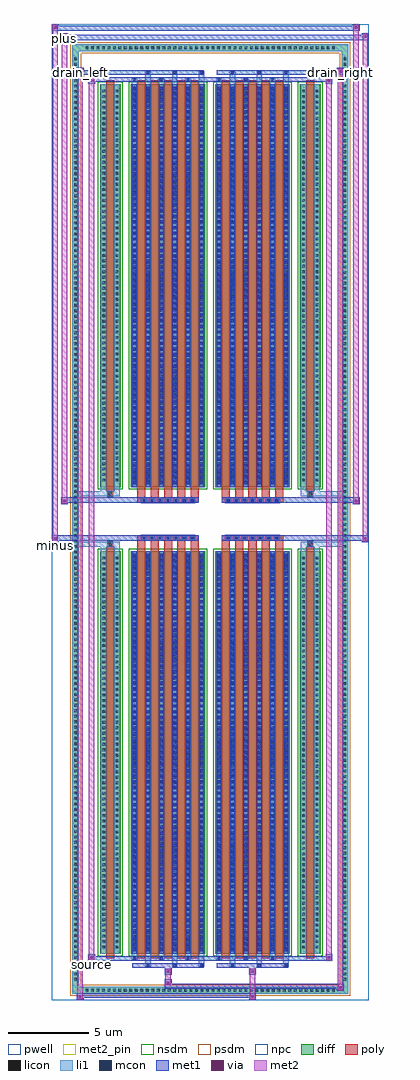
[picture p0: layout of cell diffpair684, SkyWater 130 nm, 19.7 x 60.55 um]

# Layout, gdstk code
import gdstk
lib = gdstk.Library(unit=1e-6, precision=5e-09)
def R(c, l, rs):  # rectangles x0, y0, x1, y1
    for r in rs: c.add(gdstk.rectangle(r[:2], r[2:], *l))
def A(c, l, x, y, w, h, nx, ny, dx, dy):  # array of equal rectangles
    R(c, l, [(x+i*dx, y+j*dy, x+i*dx+w, y+j*dy+h) for i in range(nx) for j in range(ny)])
def P(c, l, *ps):  # polygons
    for p in ps: c.add(gdstk.Polygon(p, *l))
pwell = (64, 44)
diff = (65, 20)
poly = (66, 20)
licon = (66, 44)
li1 = (67, 20)
mcon = (67, 44)
met1 = (68, 20)
via = (68, 44)
met2_pin = (69, 16)
met2 = (69, 20)
nsdm = (93, 44)
psdm = (94, 20)
npc = (95, 20)

diffpair684 = lib.new_cell('diffpair684')
R(diffpair684, pwell, [(-9.83,-29.84,9.83,30.71), (-7.15,-28.03,-0.01,-0.805), (0.01,-28.03,7.15,-0.805), (-7.15,0.805,-0.01,28.03), (0.01,0.805,7.15,28.03)])
A(diffpair684, diff, -7.855, -29.44, 0.41, 0.41, 46, 2, 0.34, 58.47)
A(diffpair684, diff, -8.56, -28.765, 0.41, 0.41, 1, 169, 0, 0.34)
A(diffpair684, diff, 8.15, -28.765, 0.41, 0.41, 1, 169, 0, 0.34)
R(diffpair684, diff, [(-7.855,-29.44,7.855,-29.03), (-8.56,-28.765,-8.15,28.765), (8.15,-28.765,8.56,28.765), (-6.84,-26.985,-5.56,-1.985), (-4.92,-26.985,-0.32,-1.985), (0.32,-26.985,4.92,-1.985), (5.56,-26.985,6.84,-1.985), (-6.84,1.985,-5.56,26.985), (-4.92,1.985,-0.32,26.985), (0.32,1.985,4.92,26.985), (5.56,1.985,6.84,26.985), (-7.855,29.03,7.855,29.44)])
P(diffpair684, diff, [(8.56,29.44),(-8.56,29.44),(-8.56,-29.03),(-8.15,-29.03),(-8.15,29.03),(8.15,29.03),(8.15,-29.03),(-8.15,-29.03),(-8.56,-29.03),(-8.56,-29.44),(8.56,-29.44)])
A(diffpair684, poly, -4.53, -27.235, 0.5, 25.5, 5, 2, 0.83, 28.97)
A(diffpair684, poly, 0.71, -27.235, 0.5, 25.5, 5, 2, 0.83, 28.97)
A(diffpair684, poly, -4.53, -1.735, 0.5, 0.4, 5, 2, 0.83, 3.07)
A(diffpair684, poly, 0.71, -1.735, 0.5, 0.4, 5, 2, 0.83, 3.07)
A(diffpair684, poly, -4.285, -1.335, 0.33, 0.33, 7, 2, 0.5, 2.34)
A(diffpair684, poly, 0.955, -1.335, 0.33, 0.33, 7, 2, 0.5, 2.34)
R(diffpair684, poly, [(-6.45,-27.235,-5.95,-1.735), (5.95,-27.235,6.45,-1.735), (-6.365,-1.735,-6.035,-1.405), (-6.365,-1.735,-6.035,-1.405), (6.035,-1.735,6.365,-1.405), (6.035,-1.735,6.365,-1.405), (-4.53,-1.335,-0.71,-1.005), (0.71,-1.335,4.53,-1.005), (-4.53,1.005,-0.71,1.335), (0.71,1.005,4.53,1.335), (-6.365,1.405,-6.035,1.735), (-6.365,1.405,-6.035,1.735), (6.035,1.405,6.365,1.735), (6.035,1.405,6.365,1.735), (-6.45,1.735,-5.95,27.235), (5.95,1.735,6.45,27.235)])
A(diffpair684, licon, -7.735, -29.32, 0.17, 0.17, 46, 2, 0.34, 58.47)
A(diffpair684, licon, -8.44, -28.645, 0.17, 0.17, 1, 169, 0, 0.34)
A(diffpair684, licon, 8.27, -28.645, 0.17, 0.17, 1, 169, 0, 0.34)
A(diffpair684, licon, -6.7, -26.64, 0.17, 0.17, 1, 72, 0, 0.34)
A(diffpair684, licon, -5.87, -26.64, 0.17, 0.17, 1, 72, 0, 0.34)
A(diffpair684, licon, -4.78, -26.64, 0.17, 0.17, 6, 72, 0.83, 0.34)
A(diffpair684, licon, 0.46, -26.64, 0.17, 0.17, 6, 72, 0.83, 0.34)
A(diffpair684, licon, 5.7, -26.64, 0.17, 0.17, 1, 72, 0, 0.34)
A(diffpair684, licon, 6.53, -26.64, 0.17, 0.17, 1, 72, 0, 0.34)
A(diffpair684, licon, -4.205, -1.255, 0.17, 0.17, 7, 2, 0.5, 2.34)
A(diffpair684, licon, 1.035, -1.255, 0.17, 0.17, 7, 2, 0.5, 2.34)
A(diffpair684, licon, -6.7, 2.33, 0.17, 0.17, 1, 72, 0, 0.34)
A(diffpair684, licon, -5.87, 2.33, 0.17, 0.17, 1, 72, 0, 0.34)
A(diffpair684, licon, -4.78, 2.33, 0.17, 0.17, 6, 72, 0.83, 0.34)
A(diffpair684, licon, 0.46, 2.33, 0.17, 0.17, 6, 72, 0.83, 0.34)
A(diffpair684, licon, 5.7, 2.33, 0.17, 0.17, 1, 72, 0, 0.34)
A(diffpair684, licon, 6.53, 2.33, 0.17, 0.17, 1, 72, 0, 0.34)
R(diffpair684, licon, [(-6.285,-1.655,-6.115,-1.485), (6.115,-1.655,6.285,-1.485), (-6.285,1.485,-6.115,1.655), (6.115,1.485,6.285,1.655)])
A(diffpair684, li1, -7.815, -29.4, 0.33, 0.33, 46, 2, 0.34, 58.47)
A(diffpair684, li1, -8.52, -28.725, 0.33, 0.33, 1, 169, 0, 0.34)
A(diffpair684, li1, 8.19, -28.725, 0.33, 0.33, 1, 169, 0, 0.34)
A(diffpair684, li1, -4.03, -27.79, 0.33, 0.805, 3, 2, 1.66, 54.775)
A(diffpair684, li1, -3.95, -27.79, 0.17, 0.17, 3, 2, 1.66, 55.41)
A(diffpair684, li1, 1.21, -27.79, 0.33, 0.805, 3, 2, 1.66, 54.775)
A(diffpair684, li1, 1.29, -27.79, 0.17, 0.17, 3, 2, 1.66, 55.41)
A(diffpair684, li1, -4.86, -27.36, 0.33, 0.375, 3, 2, 1.66, 54.345)
A(diffpair684, li1, -4.78, -27.36, 0.17, 0.17, 3, 2, 1.66, 54.55)
A(diffpair684, li1, 0.38, -27.36, 0.33, 0.375, 3, 2, 1.66, 54.345)
A(diffpair684, li1, 0.46, -27.36, 0.17, 0.17, 3, 2, 1.66, 54.55)
A(diffpair684, li1, -4.86, -26.985, 0.33, 25, 6, 2, 0.83, 28.97)
A(diffpair684, li1, 0.38, -26.985, 0.33, 25, 6, 2, 0.83, 28.97)
A(diffpair684, li1, -4.78, -26.81, 0.17, 0.17, 6, 69, 0.83, 0.36)
A(diffpair684, li1, -4.78, -26.81, 0.17, 24.65, 6, 2, 0.83, 28.97)
A(diffpair684, li1, 0.46, -26.81, 0.17, 0.17, 6, 69, 0.83, 0.36)
A(diffpair684, li1, 0.46, -26.81, 0.17, 24.65, 6, 2, 0.83, 28.97)
A(diffpair684, li1, -6.78, -26.72, 0.33, 0.33, 1, 72, 0, 0.34)
A(diffpair684, li1, -5.95, -26.72, 0.33, 0.33, 1, 72, 0, 0.34)
A(diffpair684, li1, -4.86, -26.72, 0.33, 0.33, 6, 72, 0.83, 0.34)
A(diffpair684, li1, 0.38, -26.72, 0.33, 0.33, 6, 72, 0.83, 0.34)
A(diffpair684, li1, 5.62, -26.72, 0.33, 0.33, 1, 72, 0, 0.34)
A(diffpair684, li1, 6.45, -26.72, 0.33, 0.33, 1, 72, 0, 0.34)
A(diffpair684, li1, -4.285, -1.335, 0.33, 0.33, 7, 2, 0.5, 2.34)
A(diffpair684, li1, 0.955, -1.335, 0.33, 0.33, 7, 2, 0.5, 2.34)
A(diffpair684, li1, -4.78, 2.16, 0.17, 0.17, 6, 69, 0.83, 0.36)
A(diffpair684, li1, 0.46, 2.16, 0.17, 0.17, 6, 69, 0.83, 0.36)
A(diffpair684, li1, -6.78, 2.25, 0.33, 0.33, 1, 72, 0, 0.34)
A(diffpair684, li1, -5.95, 2.25, 0.33, 0.33, 1, 72, 0, 0.34)
A(diffpair684, li1, -4.86, 2.25, 0.33, 0.33, 6, 72, 0.83, 0.34)
A(diffpair684, li1, 0.38, 2.25, 0.33, 0.33, 6, 72, 0.83, 0.34)
A(diffpair684, li1, 5.62, 2.25, 0.33, 0.33, 1, 72, 0, 0.34)
A(diffpair684, li1, 6.45, 2.25, 0.33, 0.33, 1, 72, 0, 0.34)
R(diffpair684, li1, [(-8.56,-29.44,-8.15,-29.03), (-8.56,-29.44,-8.15,-29.03), (-8.15,-29.44,8.15,-29.03), (8.15,-29.44,8.56,-29.03), (8.15,-29.44,8.56,-29.03), (-8.56,-29.03,-8.15,29.03), (8.15,-29.03,8.56,29.03), (-6.78,-26.985,-6.45,-1.985), (-5.95,-26.985,-5.62,-1.985), (5.62,-26.985,5.95,-1.985), (6.45,-26.985,6.78,-1.985), (-6.78,-1.985,-6.45,-1.405), (-5.95,-1.985,-5.62,-1.405), (5.62,-1.985,5.95,-1.405), (6.45,-1.985,6.78,-1.405), (-8.56,-1.735,-6.365,-1.405), (-6.78,-1.735,-6.365,-1.405), (-6.365,-1.735,-6.035,-1.405), (-6.035,-1.735,-5.62,-1.405), (5.62,-1.735,6.035,-1.405), (6.035,-1.735,6.365,-1.405), (6.035,-1.735,8.56,-1.405), (6.365,-1.735,6.78,-1.405), (-8.56,1.405,-6.365,1.735), (-6.78,1.405,-6.365,1.735), (-6.78,1.405,-6.45,1.985), (-6.365,1.405,-6.035,1.735), (-6.035,1.405,-5.62,1.735), (-5.95,1.405,-5.62,1.985), (5.62,1.405,6.035,1.735), (5.62,1.405,5.95,1.985), (6.035,1.405,6.365,1.735), (6.035,1.405,8.56,1.735), (6.365,1.405,6.78,1.735), (6.45,1.405,6.78,1.985), (-6.78,1.985,-6.45,26.985), (-5.95,1.985,-5.62,26.985), (5.62,1.985,5.95,26.985), (6.45,1.985,6.78,26.985), (-8.56,29.03,-8.15,29.44), (-8.56,29.03,-8.15,29.44), (-8.15,29.03,8.15,29.44), (8.15,29.03,8.56,29.44), (8.15,29.03,8.56,29.44)])
A(diffpair684, mcon, -3.95, -27.79, 0.17, 0.17, 3, 2, 1.66, 55.41)
A(diffpair684, mcon, 1.29, -27.79, 0.17, 0.17, 3, 2, 1.66, 55.41)
A(diffpair684, mcon, -4.78, -27.36, 0.17, 0.17, 3, 2, 1.66, 54.55)
A(diffpair684, mcon, 0.46, -27.36, 0.17, 0.17, 3, 2, 1.66, 54.55)
A(diffpair684, mcon, -4.78, -26.81, 0.17, 0.17, 6, 69, 0.83, 0.36)
A(diffpair684, mcon, 0.46, -26.81, 0.17, 0.17, 6, 69, 0.83, 0.36)
A(diffpair684, mcon, -4.205, -1.255, 0.17, 0.17, 7, 2, 0.5, 2.34)
A(diffpair684, mcon, 1.035, -1.255, 0.17, 0.17, 7, 2, 0.5, 2.34)
A(diffpair684, mcon, -4.78, 2.16, 0.17, 0.17, 6, 69, 0.83, 0.36)
A(diffpair684, mcon, 0.46, 2.16, 0.17, 0.17, 6, 69, 0.83, 0.36)
A(diffpair684, met1, -4.01, -27.85, 0.29, 0.29, 3, 2, 1.66, 55.41)
A(diffpair684, met1, 1.23, -27.85, 0.29, 0.29, 3, 2, 1.66, 55.41)
A(diffpair684, met1, -4.84, -27.42, 0.29, 0.29, 3, 2, 1.66, 54.55)
A(diffpair684, met1, 0.4, -27.42, 0.29, 0.29, 3, 2, 1.66, 54.55)
A(diffpair684, met1, -4.84, -26.985, 0.29, 25, 6, 2, 0.83, 28.97)
A(diffpair684, met1, 0.4, -26.985, 0.29, 25, 6, 2, 0.83, 28.97)
A(diffpair684, met1, -4.84, -26.87, 0.29, 0.29, 6, 69, 0.83, 0.36)
A(diffpair684, met1, 0.4, -26.87, 0.29, 0.29, 6, 69, 0.83, 0.36)
A(diffpair684, met1, -4.265, -1.315, 0.29, 0.29, 7, 2, 0.5, 2.34)
A(diffpair684, met1, 0.975, -1.315, 0.29, 0.29, 7, 2, 0.5, 2.34)
A(diffpair684, met1, -4.84, 2.1, 0.29, 0.29, 6, 69, 0.83, 0.36)
A(diffpair684, met1, 0.4, 2.1, 0.29, 0.29, 6, 69, 0.83, 0.36)
R(diffpair684, met1, [(-8.29,-29.84,-7.86,-29.41), (2.405,-29.84,2.835,-29.41), (-8.29,-29.7,2.835,-29.41), (7.86,-29.27,8.29,-28.84), (-2.835,-29.13,8.29,-28.84), (-2.835,-28.99,-2.405,-28.56), (-2.835,-28.28,-2.405,-27.85), (2.405,-28.28,2.835,-27.85), (-4.84,-27.85,-0.4,-27.56), (0.4,-27.85,4.84,-27.56), (-7.58,-27.42,-7.15,-26.99), (-7.58,-27.42,-4.84,-27.13), (-4.84,-27.42,-0.4,-27.13), (-0.4,-27.42,0.4,-27.13), (0.4,-27.42,4.84,-27.13), (4.84,-27.42,7.58,-27.13), (7.15,-27.42,7.58,-26.99), (-9.83,-1.435,-9.4,-1.005), (9.4,-1.435,9.83,-1.005), (-9.83,-1.335,-0.71,-1.005), (-4.53,-1.335,-0.71,-1.005), (0.71,-1.335,4.53,-1.005), (0.71,-1.335,9.83,-1.005), (-9.26,0.905,-8.83,1.335), (8.83,0.905,9.26,1.335), (-9.26,1.005,-4.53,1.335), (-4.53,1.005,-0.71,1.335), (0.71,1.005,4.53,1.335), (4.53,1.005,9.26,1.335), (-7.58,26.99,-7.15,27.42), (7.15,26.99,7.58,27.42), (-7.58,27.13,-4.84,27.42), (-4.84,27.13,-0.4,27.42), (-0.4,27.13,0.4,27.42), (0.4,27.13,4.84,27.42), (4.84,27.13,7.58,27.42), (-8.29,27.56,-7.86,27.99), (-8.29,27.56,-4.84,27.85), (-4.84,27.56,-0.4,27.85), (0.4,27.56,4.84,27.85), (4.84,27.56,8.29,27.85), (7.86,27.56,8.29,27.99), (-9.26,29.71,-8.83,30.14), (-9.26,29.71,-7.15,30.04), (-7.15,29.71,7.15,30.04), (7.15,29.71,9.83,30.04), (9.4,29.71,9.83,30.14), (-9.83,30.28,-9.4,30.71), (-9.83,30.28,-7.15,30.61), (-7.15,30.28,7.15,30.61), (7.15,30.28,9.26,30.61), (8.83,30.28,9.26,30.71)])
R(diffpair684, via, [(-8.15,-29.7,-8,-29.55), (2.545,-29.7,2.695,-29.55), (8,-29.13,8.15,-28.98), (-2.695,-28.85,-2.545,-28.7), (-2.695,-28.14,-2.545,-27.99), (2.545,-28.14,2.695,-27.99), (-7.44,-27.28,-7.29,-27.13), (7.29,-27.28,7.44,-27.13), (-9.69,-1.295,-9.54,-1.145), (9.54,-1.295,9.69,-1.145), (-9.12,1.045,-8.97,1.195), (8.97,1.045,9.12,1.195), (-7.44,27.13,-7.29,27.28), (7.29,27.13,7.44,27.28), (-8.15,27.7,-8,27.85), (8,27.7,8.15,27.85), (-9.12,29.85,-8.97,30), (9.54,29.85,9.69,30), (-9.69,30.42,-9.54,30.57), (8.97,30.42,9.12,30.57)])
R(diffpair684, met2_pin, [(-7.615,-27.87,-7.115,-27.37), (-9.865,-1.885,-9.365,-1.385), (-8.325,27.44,-7.825,27.94), (7.825,27.44,8.325,27.94), (-9.295,29.59,-8.795,30.09)])
R(diffpair684, met2, [(-8.24,-29.79,-7.91,-29.46), (-8.24,-29.79,-7.91,27.94), (2.455,-29.79,2.785,-29.46), (2.455,-29.46,2.785,-28.23), (7.91,-29.22,8.24,-28.89), (7.91,-29.22,8.24,27.94), (-2.785,-28.94,-2.455,-28.61), (-2.785,-28.61,-2.455,-28.23), (-2.785,-28.23,-2.455,-27.9), (2.455,-28.23,2.785,-27.9), (-7.53,-27.37,-7.2,-27.04), (-7.53,-27.37,-7.2,27.37), (7.2,-27.37,7.53,-27.04), (7.2,-27.37,7.53,27.37), (-9.78,-1.385,-9.45,-1.055), (-9.78,-1.385,-9.45,30.66), (9.45,-1.385,9.78,-1.055), (9.45,-1.385,9.78,30.09), (-9.21,0.955,-8.88,1.285), (-9.21,0.955,-8.88,30.09), (8.88,0.955,9.21,1.285), (8.88,0.955,9.21,30.66), (-7.53,27.04,-7.2,27.37), (7.2,27.04,7.53,27.37), (-8.24,27.61,-7.91,27.94), (7.91,27.61,8.24,27.94), (-9.21,29.76,-8.88,30.09), (9.45,29.76,9.78,30.09), (-9.78,30.33,-9.45,30.66), (8.88,30.33,9.21,30.66)])
P(diffpair684, met2, [(9.78,-1.385),(9.78,-1.385),(9.78,-1.055),(9.78,-1.055)],
  [(9.78,29.76),(9.78,29.76),(9.78,30.09),(9.78,30.09)],
  [(-9.45,-1.385),(-9.45,-1.385),(-9.45,-1.055),(-9.45,-1.055)],
  [(-9.45,30.33),(-9.45,30.33),(-9.45,30.66),(-9.45,30.66)],
  [(9.21,0.955),(9.21,0.955),(9.21,1.285),(9.21,1.285)],
  [(9.21,30.33),(9.21,30.33),(9.21,30.66),(9.21,30.66)],
  [(-8.88,0.955),(-8.88,0.955),(-8.88,1.285),(-8.88,1.285)],
  [(-8.88,29.76),(-8.88,29.76),(-8.88,30.09),(-8.88,30.09)],
  [(-7.91,-29.79),(-7.91,-29.79),(-7.91,-29.46),(-7.91,-29.46)],
  [(-7.91,27.61),(-7.91,27.61),(-7.91,27.94),(-7.91,27.94)],
  [(8.24,-29.22),(8.24,-29.22),(8.24,-28.89),(8.24,-28.89)],
  [(8.24,27.61),(8.24,27.61),(8.24,27.94),(8.24,27.94)],
  [(-7.2,-27.37),(-7.2,-27.37),(-7.2,-27.04),(-7.2,-27.04)],
  [(-7.2,27.04),(-7.2,27.04),(-7.2,27.37),(-7.2,27.37)],
  [(7.53,-27.37),(7.53,-27.37),(7.53,-27.04),(7.53,-27.04)],
  [(7.53,27.04),(7.53,27.04),(7.53,27.37),(7.53,27.37)])
R(diffpair684, nsdm, [(-6.97,-27.115,-5.43,-1.855), (-5.05,-27.115,-0.19,-1.855), (0.19,-27.115,5.05,-1.855), (5.43,-27.115,6.97,-1.855), (-6.97,1.855,-5.43,27.115), (-5.05,1.855,-0.19,27.115), (0.19,1.855,5.05,27.115), (5.43,1.855,6.97,27.115)])
P(diffpair684, psdm, [(8.69,29.57),(-8.69,29.57),(-8.69,-28.9),(-8.02,-28.9),(-8.02,28.9),(8.02,28.9),(8.02,-28.9),(-8.02,-28.9),(-8.69,-28.9),(-8.69,-29.57),(8.69,-29.57)])
A(diffpair684, npc, -4.305, -1.355, 0.37, 0.37, 7, 2, 0.5, 2.34)
A(diffpair684, npc, 0.935, -1.355, 0.37, 0.37, 7, 2, 0.5, 2.34)
R(diffpair684, npc, [(-6.385,-1.755,-6.015,-1.385), (6.015,-1.755,6.385,-1.385), (-4.305,-1.355,-3.435,-0.985), (-4.305,-1.355,-3.435,-0.985), (-3.805,-1.355,-2.935,-0.985), (-3.805,-1.355,-2.935,-0.985), (-3.305,-1.355,-2.435,-0.985), (-3.305,-1.355,-2.435,-0.985), (-2.805,-1.355,-1.935,-0.985), (-2.805,-1.355,-1.935,-0.985), (-2.305,-1.355,-1.435,-0.985), (-2.305,-1.355,-1.435,-0.985), (-1.805,-1.355,-0.935,-0.985), (-1.805,-1.355,-0.935,-0.985), (0.935,-1.355,1.805,-0.985), (0.935,-1.355,1.805,-0.985), (1.435,-1.355,2.305,-0.985), (1.435,-1.355,2.305,-0.985), (1.935,-1.355,2.805,-0.985), (1.935,-1.355,2.805,-0.985), (2.435,-1.355,3.305,-0.985), (2.435,-1.355,3.305,-0.985), (2.935,-1.355,3.805,-0.985), (2.935,-1.355,3.805,-0.985), (3.435,-1.355,4.305,-0.985), (3.435,-1.355,4.305,-0.985), (-4.305,0.985,-3.435,1.355), (-4.305,0.985,-3.435,1.355), (-3.805,0.985,-2.935,1.355), (-3.805,0.985,-2.935,1.355), (-3.305,0.985,-2.435,1.355), (-3.305,0.985,-2.435,1.355), (-2.805,0.985,-1.935,1.355), (-2.805,0.985,-1.935,1.355), (-2.305,0.985,-1.435,1.355), (-2.305,0.985,-1.435,1.355), (-1.805,0.985,-0.935,1.355), (-1.805,0.985,-0.935,1.355), (0.935,0.985,1.805,1.355), (0.935,0.985,1.805,1.355), (1.435,0.985,2.305,1.355), (1.435,0.985,2.305,1.355), (1.935,0.985,2.805,1.355), (1.935,0.985,2.805,1.355), (2.435,0.985,3.305,1.355), (2.435,0.985,3.305,1.355), (2.935,0.985,3.805,1.355), (2.935,0.985,3.805,1.355), (3.435,0.985,4.305,1.355), (3.435,0.985,4.305,1.355), (-6.385,1.385,-6.015,1.755), (6.015,1.385,6.385,1.755)])
diffpair684.add(gdstk.Label('minus', (-9.615,-1.635), layer=69, texttype=5))
diffpair684.add(gdstk.Label('drain_right', (8.075,27.69), layer=69, texttype=5))
diffpair684.add(gdstk.Label('drain_left', (-8.075,27.69), layer=69, texttype=5))
diffpair684.add(gdstk.Label('source', (-7.365,-27.62), layer=69, texttype=5))
diffpair684.add(gdstk.Label('plus', (-9.045,29.84), layer=69, texttype=5))

lib.write_gds('diffpair684.gds')
